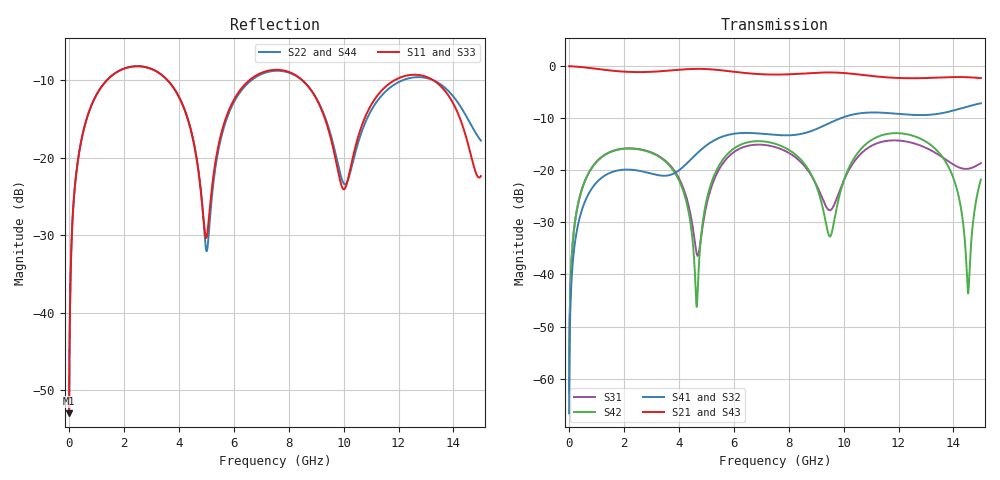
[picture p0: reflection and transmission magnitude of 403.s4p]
! Created with skrf 1.8.0 (http://scikit-rf.org).
# GHz S RI R 50.0
!freq ReS11 ImS11 ReS12 ImS12 ReS13 ImS13
! ReS14 ImS14
! ReS21 ImS21 ReS22 ImS22 ReS23 ImS23
! ReS24 ImS24
! ReS31 ImS31 ReS32 ImS32 ReS33 ImS33
! ReS34 ImS34
! ReS41 ImS41 ReS42 ImS42 ReS43 ImS43
! ReS44 ImS44
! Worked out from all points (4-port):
!   2499 points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, 5 MHz to 15 GHz, reference 50 ohm
!   strongest paths, dB at 5 MHz, 3.476 GHz, 7.19 GHz, 11.1 GHz, 15 GHz:
!     S21: 0.0, -0.9, -1.6, -1.9, -2.3
!     S43: 0.0, -0.9, -1.6, -1.9, -2.3
!     S41: -66.7, -21.1, -13.1, -8.9, -7.1
!     S32: -66.7, -21.1, -13.1, -8.9, -7.1
!     S42: -62.6, -18.2, -14.5, -13.9, -21.8
!     S31: -62.6, -18.0, -15.2, -15.1, -18.6
!   lowest |S11| = -53.0 dB at 5 MHz (marker M1), VSWR 1.00, Z = 50.2 + j0.136 ohm
!   |S11| at or under -10 dB: 3.593 GHz to 6.56 GHz (2.967 GHz wide, 58.5 % of centre); 8.509 GHz to 11.84 GHz (3.332 GHz wide, 32.7 % of centre); 13.28 GHz to end of sweep (the widest 3 of 4)
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0.005  0.00179 0.00136  0.9982 -0.00348  9.12e-05 0.000732  -8.84e-05 -0.000456
       0.9982 -0.00348  0.00179 0.00136  -8.84e-05 -0.000456  9.12e-05 0.000732
       9.12e-05 0.000732  -8.84e-05 -0.000456  0.00179 0.00136  0.9982 -0.00348
       -8.84e-05 -0.000456  9.12e-05 0.000732  0.9982 -0.00348  0.00179 0.00136
0.4126719  0.0431 0.112  0.9399 -0.2795  0.0218 0.054  -0.0179 -0.0323
           0.9399 -0.2795  0.0431 0.112  -0.0179 -0.0323  0.0217 0.0541
           0.0218 0.054  -0.0179 -0.0323  0.0431 0.112  0.9399 -0.2795
           -0.0179 -0.0323  0.0217 0.0541  0.9399 -0.2795  0.0431 0.112
1.925802  0.3554 0.1104  0.3096 -0.8315  0.159 0.0227  -0.0949 0.0343
          0.3096 -0.8315  0.3559 0.1099  -0.0949 0.0341  0.158 0.0256
          0.159 0.0227  -0.0949 0.0341  0.3552 0.1104  0.3097 -0.8316
          -0.0949 0.0343  0.158 0.0256  0.3097 -0.8316  0.3557 0.1099
4.646818  0.0486 -0.086  -0.8951 -0.2884  -0.0145 -0.0069  -0.039 0.1385
          -0.8951 -0.2884  0.0448 -0.0904  -0.0401 0.1381  0.00491 -0.000338
          -0.0145 -0.0069  -0.0401 0.1381  0.0473 -0.0846  -0.8954 -0.2882
          -0.039 0.1385  0.00491 -0.000338  -0.8954 -0.2882  0.045 -0.0886
7.609421  0.3703 -0.0134  -0.0735 0.8258  0.1492 -0.0674  0.2122 -0.0491
          -0.0735 0.8258  0.3654 -0.00167  0.2121 -0.0466  0.1546 -0.0842
          0.1492 -0.0674  0.2121 -0.0466  0.3721 -0.0121  -0.0747 0.8252
          0.2122 -0.0491  0.1546 -0.0842  -0.0747 0.8252  0.3665 -0.00158
10.37932  0.0858 0.0663  0.8387 -0.0544  0.0315 0.1161  -0.0441 -0.3416
          0.8387 -0.0544  0.0842 0.0543  -0.0394 -0.3419  0.066 0.1122
          0.0315 0.1161  -0.0394 -0.3419  0.0864 0.0662  0.839 -0.0511
          -0.0441 -0.3416  0.066 0.1122  0.839 -0.0511  0.0829 0.0531
15  0.0751 0.0142  -0.7345 -0.2198  -0.0926 0.0717  -0.1126 0.4246
    -0.7345 -0.2198  0.1209 -0.0463  -0.124 0.4227  0.0427 0.0696
    -0.0926 0.0717  -0.124 0.4227  0.0656 0.00964  -0.7316 -0.229
    -0.1126 0.4246  0.0427 0.0696  -0.7316 -0.229  0.1308 -0.047
